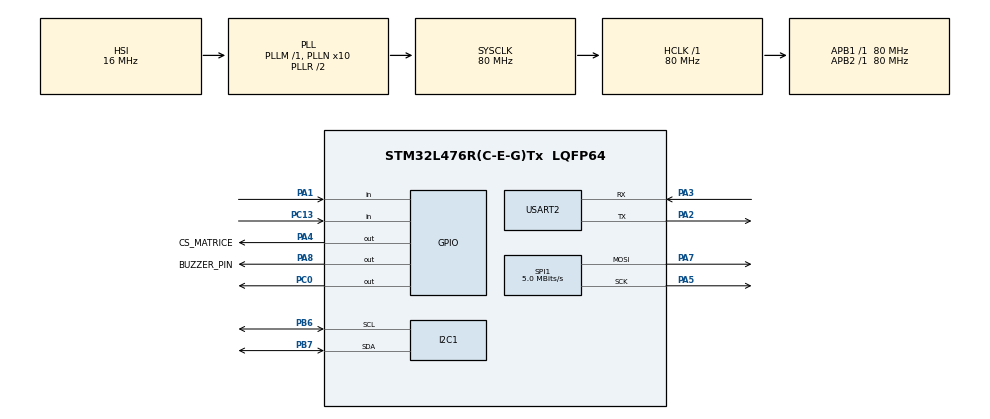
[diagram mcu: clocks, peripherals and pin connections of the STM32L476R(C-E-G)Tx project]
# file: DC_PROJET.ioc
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I2C1.Timing=0x10D19CE4
Mcu.Family=STM32L4
Mcu.Name=STM32L476R(C-E-G)Tx
Mcu.Package=LQFP64
NVIC.PriorityGroup=NVIC_PRIORITYGROUP_4
PA1.GPIO_PuPd=GPIO_PULLUP
PA1.Signal=GPIO_Input
PA13\ (JTMS-SWDIO).GPIO_Label=TMS
PA13\ (JTMS-SWDIO).Mode=Serial_Wire
PA13\ (JTMS-SWDIO).Signal=SYS_JTMS-SWDIO
PA14\ (JTCK-SWCLK).GPIO_Label=TCK
PA14\ (JTCK-SWCLK).Mode=Serial_Wire
PA14\ (JTCK-SWCLK).Signal=SYS_JTCK-SWCLK
PA2.Mode=Asynchronous
PA2.Signal=USART2_TX
PA3.Mode=Asynchronous
PA3.Signal=USART2_RX
PA4.GPIO_Label=CS_MATRICE
PA4.GPIO_Speed=GPIO_SPEED_FREQ_HIGH
PA4.PinState=GPIO_PIN_SET
PA4.Signal=GPIO_Output
PA5.Mode=TX_Only_Simplex_Unidirect_Master
PA5.Signal=SPI1_SCK
PA7.Mode=TX_Only_Simplex_Unidirect_Master
PA7.Signal=SPI1_MOSI
PA8.GPIO_Label=BUZZER_PIN
PA8.GPIO_ModeDefaultOutputPP=GPIO_MODE_OUTPUT_OD
PA8.GPIO_PuPd=GPIO_NOPULL
PA8.PinState=GPIO_PIN_SET
PA8.Signal=GPIO_Output
PB3\ (JTDO-TRACESWO).GPIO_Label=SWO
PB3\ (JTDO-TRACESWO).Signal=SYS_JTDO-SWO
PB6.Mode=I2C
PB6.Signal=I2C1_SCL
PB7.Mode=I2C
PB7.Signal=I2C1_SDA
PC0.GPIO_ModeDefaultOutputPP=GPIO_MODE_OUTPUT_OD
PC0.GPIO_PuPd=GPIO_NOPULL
PC0.PinState=GPIO_PIN_SET
PC0.Signal=GPIO_Output
PC13.Signal=GPIO_Input
PC14-OSC32_IN\ (PC14).Mode=LSE-External-Oscillator
PC14-OSC32_IN\ (PC14).Signal=RCC_OSC32_IN
PC15-OSC32_OUT\ (PC15).Mode=LSE-External-Oscillator
PC15-OSC32_OUT\ (PC15).Signal=RCC_OSC32_OUT
PH0-OSC_IN\ (PH0).Signal=RCC_OSC_IN
PH1-OSC_OUT\ (PH1).Signal=RCC_OSC_OUT
ProjectManager.HeapSize=0x200
ProjectManager.StackSize=0x400
ProjectManager.TargetToolchain=STM32CubeIDE
RCC.ADCFreq_Value=64000000
RCC.AHBFreq_Value=80000000
RCC.APB1Freq_Value=80000000
RCC.APB1TimFreq_Value=80000000
RCC.APB2Freq_Value=80000000
RCC.APB2TimFreq_Value=80000000
RCC.CortexFreq_Value=80000000
RCC.HCLKFreq_Value=80000000
RCC.HSE_VALUE=8000000
RCC.HSI_VALUE=16000000
RCC.MSI_VALUE=4000000
RCC.PLLN=10
RCC.PLLSourceVirtual=RCC_PLLSOURCE_HSI
RCC.PREFETCH_ENABLE=1
RCC.SYSCLKFreq_VALUE=80000000
RCC.SYSCLKSource=RCC_SYSCLKSOURCE_PLLCLK
RCC.USBFreq_Value=64000000
RCC.VCOOutputFreq_Value=160000000
SPI1.BaudRatePrescaler=SPI_BAUDRATEPRESCALER_16
SPI1.CalculateBaudRate=5.0 MBits/s
SPI1.DataSize=SPI_DATASIZE_8BIT
SPI1.Direction=SPI_DIRECTION_2LINES
SPI1.Mode=SPI_MODE_MASTER
SPI1.VirtualType=VM_MASTER
USART2.VirtualMode-Asynchronous=VM_ASYNC
board=NUCLEO-L476RG

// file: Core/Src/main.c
/* USER CODE BEGIN Header */
/**
  ******************************************************************************
  * @file           : main.c
  * @brief          : Main program body
  ******************************************************************************
  * @attention
  *
  * Copyright (c) 2026 STMicroelectronics.
  * All rights reserved.
  *
  * This software is licensed under terms that can be found in the LICENSE file
  * in the root directory of this software component.
  * If no LICENSE file comes with this software, it is provided AS-IS.
  *
  ******************************************************************************
  */
/* USER CODE END Header */
#include "main.h"

/* USER CODE BEGIN Includes */
#include <stdio.h>
#include "dcf77.h"   // <-- Ta nouvelle bibliothèque est incluse ici !
#include "buzzer.h"
#include "lcd_i2c.h"
#include "max7219.h"
/* USER CODE END Includes */

I2C_HandleTypeDef hi2c1;

SPI_HandleTypeDef hspi1;

UART_HandleTypeDef huart2;

void SystemClock_Config(void);
static void MX_GPIO_Init(void);
static void MX_USART2_UART_Init(void);
static void MX_I2C1_Init(void);
static void MX_SPI1_Init(void);

/* USER CODE BEGIN 0 */
// Fonction magique pour que le printf fonctionne vers Tera Term
int _write(int file, char *ptr, int len) {
    HAL_UART_Transmit(&huart2, (uint8_t*)ptr, len, HAL_MAX_DELAY);
    return len;
}
/* USER CODE END 0 */

int main(void)
{

  /* MCU Configuration--------------------------------------------------------*/

  /* Reset of all peripherals, Initializes the Flash interface and the Systick. */
  HAL_Init();

  /* Configure the system clock */
  SystemClock_Config();

  /* Initialize all configured peripherals */
  MX_GPIO_Init();
  MX_USART2_UART_Init();
  MX_I2C1_Init();
  MX_SPI1_Init();
  /* USER CODE BEGIN 2 */
  // Variables pour l'horloge
    uint8_t horloge_h = 0, horloge_m = 0, horloge_s = 0;
    uint32_t dernier_tick_seconde = HAL_GetTick();
    uint8_t systeme_synchronise = 0; // 0 = Radio, 1 = Horloge interne

    // 1. Initialisation de l'écran
    lcd_init();

    // 2. On lance la recherche radio !
    DCF77_Reset_Recherche();

    /* USER CODE END 2 */

    /* Infinite loop */
    /* USER CODE BEGIN WHILE */
    while (1)
    {
        // --- MODE 1 : RECHERCHE RADIO ---
        if (systeme_synchronise == 0) {
            DCF77_Process(); // Écoute la radio

            uint8_t h, m;
            // Si on a décodé la trame avec succès :
            if (DCF77_NouvelleHeureDispo(&h, &m) == 1) {
                horloge_h = h;
                horloge_m = m;
                horloge_s = 0; // On commence à la seconde zéro
                dernier_tick_seconde = HAL_GetTick();
                systeme_synchronise = 1; // On passe en mode Horloge Interne !
            }
        }
        // --- MODE 2 : HORLOGE INTERNE (Autonome) ---
        else {
            // Toutes les 1000 millisecondes (1 seconde)
            if (HAL_GetTick() - dernier_tick_seconde >= 1000) {
                dernier_tick_seconde = HAL_GetTick();

                // On incrémente le temps
                horloge_s++;
                if (horloge_s >= 60) { horloge_s = 0; horloge_m++; }
                if (horloge_m >= 60) { horloge_m = 0; horloge_h++; }
                if (horloge_h >= 24) { horloge_h = 0; }

                // On met à jour l'écran LCD !
                char buffer_heure[16];
                lcd_clear();
                lcd_put_cur(0, 4);
                sprintf(buffer_heure, "%02d:%02d:%02d", horloge_h, horloge_m, horloge_s);
                lcd_send_string(buffer_heure);
            }
        }

        // --- LE BOUTON RESET (Bouton Bleu de la carte Nucleo) ---
        if (HAL_GPIO_ReadPin(GPIOC, GPIO_PIN_13) == GPIO_PIN_RESET) {
            systeme_synchronise = 0; // On repasse en mode radio
            DCF77_Reset_Recherche(); // On remet l'écran à zéro
            HAL_Delay(500); // Anti-rebond
        }

      /* USER CODE END WHILE */

    }
}

void SystemClock_Config(void)
{
  RCC_OscInitTypeDef RCC_OscInitStruct = {0};
  RCC_ClkInitTypeDef RCC_ClkInitStruct = {0};

  /** Configure the main internal regulator output voltage
  */
  if (HAL_PWREx_ControlVoltageScaling(PWR_REGULATOR_VOLTAGE_SCALE1) != HAL_OK)
  {
    Error_Handler();
  }

  /** Initializes the RCC Oscillators according to the specified parameters
  * in the RCC_OscInitTypeDef structure.
  */
  RCC_OscInitStruct.OscillatorType = RCC_OSCILLATORTYPE_HSI;
  RCC_OscInitStruct.HSIState = RCC_HSI_ON;
  RCC_OscInitStruct.HSICalibrationValue = RCC_HSICALIBRATION_DEFAULT;
  RCC_OscInitStruct.PLL.PLLState = RCC_PLL_ON;
  RCC_OscInitStruct.PLL.PLLSource = RCC_PLLSOURCE_HSI;
  RCC_OscInitStruct.PLL.PLLM = 1;
  RCC_OscInitStruct.PLL.PLLN = 10;
  RCC_OscInitStruct.PLL.PLLP = RCC_PLLP_DIV7;
  RCC_OscInitStruct.PLL.PLLQ = RCC_PLLQ_DIV2;
  RCC_OscInitStruct.PLL.PLLR = RCC_PLLR_DIV2;
  if (HAL_RCC_OscConfig(&RCC_OscInitStruct) != HAL_OK)
  {
    Error_Handler();
  }

  /** Initializes the CPU, AHB and APB buses clocks
  */
  RCC_ClkInitStruct.ClockType = RCC_CLOCKTYPE_HCLK|RCC_CLOCKTYPE_SYSCLK
                              |RCC_CLOCKTYPE_PCLK1|RCC_CLOCKTYPE_PCLK2;
  RCC_ClkInitStruct.SYSCLKSource = RCC_SYSCLKSOURCE_PLLCLK;
  RCC_ClkInitStruct.AHBCLKDivider = RCC_SYSCLK_DIV1;
  RCC_ClkInitStruct.APB1CLKDivider = RCC_HCLK_DIV1;
  RCC_ClkInitStruct.APB2CLKDivider = RCC_HCLK_DIV1;

  if (HAL_RCC_ClockConfig(&RCC_ClkInitStruct, FLASH_LATENCY_4) != HAL_OK)
  {
    Error_Handler();
  }
}

static void MX_I2C1_Init(void)
{

  hi2c1.Instance = I2C1;
  hi2c1.Init.Timing = 0x10D19CE4;
  hi2c1.Init.OwnAddress1 = 0;
  hi2c1.Init.AddressingMode = I2C_ADDRESSINGMODE_7BIT;
  hi2c1.Init.DualAddressMode = I2C_DUALADDRESS_DISABLE;
  hi2c1.Init.OwnAddress2 = 0;
  hi2c1.Init.OwnAddress2Masks = I2C_OA2_NOMASK;
  hi2c1.Init.GeneralCallMode = I2C_GENERALCALL_DISABLE;
  hi2c1.Init.NoStretchMode = I2C_NOSTRETCH_DISABLE;
  if (HAL_I2C_Init(&hi2c1) != HAL_OK)
  {
    Error_Handler();
  }

  /** Configure Analogue filter
  */
  if (HAL_I2CEx_ConfigAnalogFilter(&hi2c1, I2C_ANALOGFILTER_ENABLE) != HAL_OK)
  {
    Error_Handler();
  }

  /** Configure Digital filter
  */
  if (HAL_I2CEx_ConfigDigitalFilter(&hi2c1, 0) != HAL_OK)
  {
    Error_Handler();
  }

}

static void MX_SPI1_Init(void)
{

  /* SPI1 parameter configuration*/
  hspi1.Instance = SPI1;
  hspi1.Init.Mode = SPI_MODE_MASTER;
  hspi1.Init.Direction = SPI_DIRECTION_2LINES;
  hspi1.Init.DataSize = SPI_DATASIZE_8BIT;
  hspi1.Init.CLKPolarity = SPI_POLARITY_LOW;
  hspi1.Init.CLKPhase = SPI_PHASE_1EDGE;
  hspi1.Init.NSS = SPI_NSS_SOFT;
  hspi1.Init.BaudRatePrescaler = SPI_BAUDRATEPRESCALER_16;
  hspi1.Init.FirstBit = SPI_FIRSTBIT_MSB;
  hspi1.Init.TIMode = SPI_TIMODE_DISABLE;
  hspi1.Init.CRCCalculation = SPI_CRCCALCULATION_DISABLE;
  hspi1.Init.CRCPolynomial = 7;
  hspi1.Init.CRCLength = SPI_CRC_LENGTH_DATASIZE;
  hspi1.Init.NSSPMode = SPI_NSS_PULSE_ENABLE;
  if (HAL_SPI_Init(&hspi1) != HAL_OK)
  {
    Error_Handler();
  }

}

static void MX_USART2_UART_Init(void)
{

  huart2.Instance = USART2;
  huart2.Init.BaudRate = 115200;
  huart2.Init.WordLength = UART_WORDLENGTH_8B;
  huart2.Init.StopBits = UART_STOPBITS_1;
  huart2.Init.Parity = UART_PARITY_NONE;
  huart2.Init.Mode = UART_MODE_TX_RX;
  huart2.Init.HwFlowCtl = UART_HWCONTROL_NONE;
  huart2.Init.OverSampling = UART_OVERSAMPLING_16;
  huart2.Init.OneBitSampling = UART_ONE_BIT_SAMPLE_DISABLE;
  huart2.AdvancedInit.AdvFeatureInit = UART_ADVFEATURE_NO_INIT;
  if (HAL_UART_Init(&huart2) != HAL_OK)
  {
    Error_Handler();
  }

}

static void MX_GPIO_Init(void)
{
  GPIO_InitTypeDef GPIO_InitStruct = {0};

  /* GPIO Ports Clock Enable */
  __HAL_RCC_GPIOC_CLK_ENABLE();
  __HAL_RCC_GPIOH_CLK_ENABLE();
  __HAL_RCC_GPIOA_CLK_ENABLE();
  __HAL_RCC_GPIOB_CLK_ENABLE();

  /*Configure GPIO pin Output Level */
  HAL_GPIO_WritePin(GPIOC, GPIO_PIN_0, GPIO_PIN_SET);

  /*Configure GPIO pin Output Level */
  HAL_GPIO_WritePin(GPIOA, CS_MATRICE_Pin|BUZZER_PIN_Pin, GPIO_PIN_SET);

  /*Configure GPIO pin : PC13 */
  GPIO_InitStruct.Pin = GPIO_PIN_13;
  GPIO_InitStruct.Mode = GPIO_MODE_INPUT;
  GPIO_InitStruct.Pull = GPIO_NOPULL;
  HAL_GPIO_Init(GPIOC, &GPIO_InitStruct);

  /*Configure GPIO pin : PC0 */
  GPIO_InitStruct.Pin = GPIO_PIN_0;
  GPIO_InitStruct.Mode = GPIO_MODE_OUTPUT_OD;
  GPIO_InitStruct.Pull = GPIO_NOPULL;
  GPIO_InitStruct.Speed = GPIO_SPEED_FREQ_LOW;
  HAL_GPIO_Init(GPIOC, &GPIO_InitStruct);

  /*Configure GPIO pin : PA1 */
  GPIO_InitStruct.Pin = GPIO_PIN_1;
  GPIO_InitStruct.Mode = GPIO_MODE_INPUT;
  GPIO_InitStruct.Pull = GPIO_PULLUP;
  HAL_GPIO_Init(GPIOA, &GPIO_InitStruct);

  /*Configure GPIO pin : CS_MATRICE_Pin */
  GPIO_InitStruct.Pin = CS_MATRICE_Pin;
  GPIO_InitStruct.Mode = GPIO_MODE_OUTPUT_PP;
  GPIO_InitStruct.Pull = GPIO_NOPULL;
  GPIO_InitStruct.Speed = GPIO_SPEED_FREQ_HIGH;
  HAL_GPIO_Init(CS_MATRICE_GPIO_Port, &GPIO_InitStruct);

  /*Configure GPIO pin : BUZZER_PIN_Pin */
  GPIO_InitStruct.Pin = BUZZER_PIN_Pin;
  GPIO_InitStruct.Mode = GPIO_MODE_OUTPUT_OD;
  GPIO_InitStruct.Pull = GPIO_NOPULL;
  GPIO_InitStruct.Speed = GPIO_SPEED_FREQ_LOW;
  HAL_GPIO_Init(BUZZER_PIN_GPIO_Port, &GPIO_InitStruct);

}

void Error_Handler(void)
{
  __disable_irq();
  while (1)
  {
  }
}
